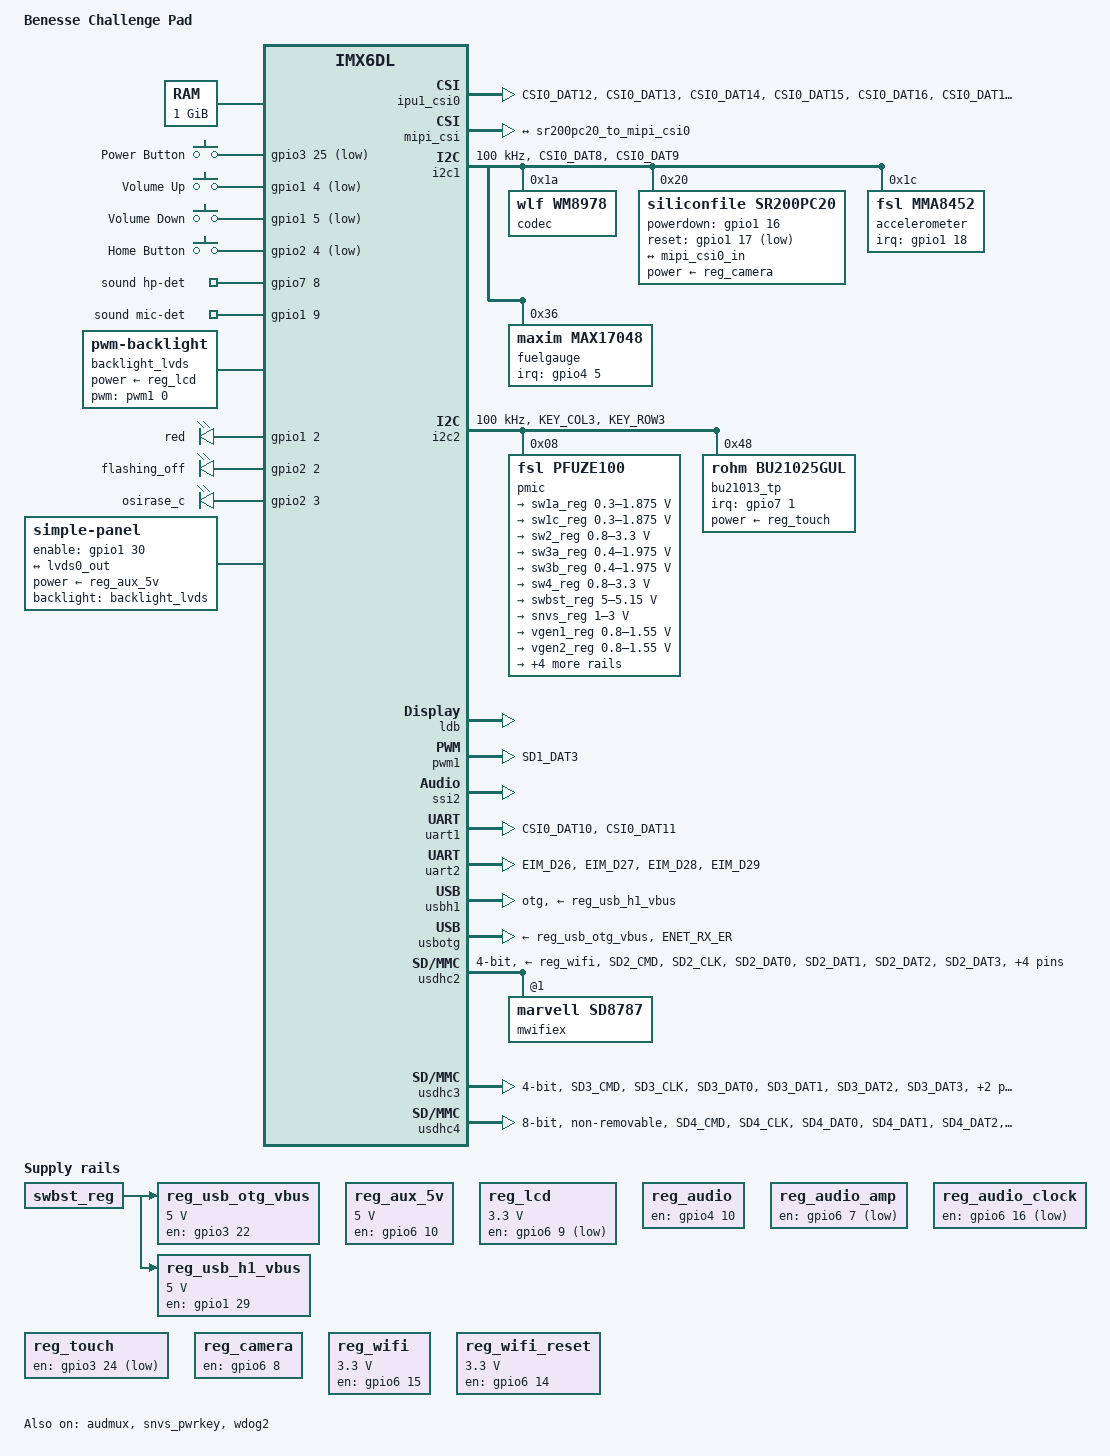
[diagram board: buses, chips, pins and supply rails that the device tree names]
// SPDX-License-Identifier: GPL-2.0+
//
// Copyright 2012 Freescale Semiconductor, Inc.
// Copyright 2011 Linaro Ltd.

/dts-v1/;

#include "imx6dl.dtsi"

#include <dt-bindings/clock/imx6qdl-clock.h>
#include <dt-bindings/gpio/gpio.h>
#include <dt-bindings/input/input.h>
#include <dt-bindings/sound/fsl-imx-audmux.h>

/ {
	model = "Benesse Challenge Pad";
	compatible = "benesse,challenge-pad", "fsl,imx6dl";

	chosen {
		stdout-path = &uart1;
	};

	memory@10000000 {
		device_type = "memory";
		reg = <0x10000000 0x40000000>;
	};

	reg_usb_otg_vbus: regulator-usb-otg-vbus {
		compatible = "regulator-fixed";
		regulator-name = "usb_otg_vbus";
		regulator-min-microvolt = <5000000>;
		regulator-max-microvolt = <5000000>;
		gpio = <&gpio3 22 GPIO_ACTIVE_HIGH>;
		enable-active-high;
		vin-supply = <&swbst_reg>;
	};

	reg_usb_h1_vbus: regulator-usb-h1-vbus {
		compatible = "regulator-fixed";
		regulator-name = "usb_h1_vbus";
		regulator-min-microvolt = <5000000>;
		regulator-max-microvolt = <5000000>;
		gpio = <&gpio1 29 GPIO_ACTIVE_HIGH>;
		enable-active-high;
		vin-supply = <&swbst_reg>;
	};

	reg_aux_5v: regulator-aux-5v {
		compatible = "regulator-fixed";
		regulator-name = "aux_5v";
		regulator-min-microvolt = <5000000>;
		regulator-max-microvolt = <5000000>;
		gpio = <&gpio6 10 GPIO_ACTIVE_HIGH>;
		enable-active-high;
	};

	reg_lcd: regulator-lcd-backlight {
		compatible = "regulator-fixed";
		regulator-name = "lcd";
		regulator-min-microvolt = <3300000>;
		regulator-max-microvolt = <3300000>;
		gpio = <&gpio6 9 GPIO_ACTIVE_LOW>;
		enable-active-low;
	};

	reg_audio: regulator-audio {
		compatible = "regulator-fixed";
		regulator-name = "wm8962-supply";
		gpio = <&gpio4 10 GPIO_ACTIVE_HIGH>;
		enable-active-high;
		regulator-always-on;
	};

	reg_audio_amp: regulator-audio-amp {
		compatible = "regulator-fixed";
		regulator-name = "wm8962-supply-amp";
		gpio = <&gpio6 7 GPIO_ACTIVE_LOW>;
		enable-active-low;
		regulator-always-on;
	};

	reg_audio_clock: regulator-audio-clock {
		compatible = "regulator-fixed";
		regulator-name = "wm8962-supply-clock";
		gpio = <&gpio6 16 GPIO_ACTIVE_LOW>;
		enable-active-low;
		regulator-always-on;
	};

	reg_touch: regulator-touchscreen {
		compatible = "regulator-fixed";
		regulator-name = "bu21025-supply";
		gpio = <&gpio3 24 GPIO_ACTIVE_LOW>;
		enable-active-low;
	};

	reg_camera: regulator-sr200pc20 {
		compatible = "regulator-fixed";
		regulator-name = "sr200pc20-supply";
		gpio = <&gpio6 8 GPIO_ACTIVE_HIGH>;
		enable-active-high;
	};

	reg_wifi: regulator-sd8787 {
		compatible = "regulator-fixed";
		regulator-name = "sd8787-supply";
		regulator-min-microvolt = <3300000>;
		regulator-max-microvolt = <3300000>;
		gpio = <&gpio6 15 GPIO_ACTIVE_HIGH>;
		enable-active-high;
	};

    reg_wifi_reset: regulator-sd8787-reset {
		compatible = "regulator-fixed";
		regulator-name = "sd8787-supply-reset";
		regulator-min-microvolt = <3300000>;
		regulator-max-microvolt = <3300000>;
		gpio = <&gpio6 14 GPIO_ACTIVE_HIGH>;
		enable-active-high;
	};

	gpio-keys {
		compatible = "gpio-keys";
		pinctrl-names = "default";
		pinctrl-0 = <&pinctrl_gpio_keys>;

		power {
			label = "Power Button";
			gpios = <&gpio3 25 GPIO_ACTIVE_LOW>;
			wakeup-source;
			linux,code = <KEY_POWER>;
		};

		volume-up {
			label = "Volume Up";
			gpios = <&gpio1 4 GPIO_ACTIVE_LOW>;
			wakeup-source;
			linux,code = <KEY_VOLUMEUP>;
		};

		volume-down {
			label = "Volume Down";
			gpios = <&gpio1 5 GPIO_ACTIVE_LOW>;
			wakeup-source;
			linux,code = <KEY_VOLUMEDOWN>;
		};

		home {
			label = "Home Button";
			gpios = <&gpio2 4 GPIO_ACTIVE_LOW>;
			wakeup-source;
			linux,code = <KEY_HOME>;
		};
	};

	sound {
		compatible = "simple-audio-card";
		simple-audio-card,name = "Wolfson WM8978";
		simple-audio-card,format = "i2s";
		pinctrl-names = "default";
		pinctrl-0 = <&pinctrl_hp>;
		simple-audio-card,widgets =
            "Microphone", "MIC",
			"Microphone", "Mic Jack",
            "Headphone", "Headphones",
            "Speaker", "Ext Spk";
		simple-audio-card,routing =
			"Headphones", "LHP",
			"Headphones", "RHP",
			"Ext Spk", "LSPK",
			"Ext Spk", "RSPK",
			"RMICN", "MIC",
            "RMICP", "MIC",
            "MIC", "Mic Bias",
			"LMICN", "Mic Jack",
            "LMICP", "Mic Jack",
            "Mic Jack", "Mic Bias";
		simple-audio-card,hp-det-gpio = <&gpio7 8 GPIO_ACTIVE_HIGH>;
		simple-audio-card,mic-det-gpio = <&gpio1 9 GPIO_ACTIVE_HIGH>;
		simple-audio-card,bitclock-master = <&codec_dai>;
		simple-audio-card,frame-master = <&codec_dai>;
		cpu_dai: simple-audio-card,cpu {
            sound-dai = <&ssi2>;
        };
        codec_dai: simple-audio-card,codec {
            sound-dai = <&codec>;
			clocks = <&clks IMX6QDL_CLK_CKO>;
			system-clock-frequency=<24000000>;
        };
	};

	backlight_lvds: backlight-lvds {
		compatible = "pwm-backlight";
		pwms = <&pwm1 0 50000>;
		power-supply = <&reg_lcd>;
		brightness-levels = <0 4 8 16 32 64 128 255>;
		default-brightness-level = <7>;
		status = "okay";
	};

	leds {
		compatible = "gpio-leds";
		pinctrl-names = "default";
		pinctrl-0 = <&pinctrl_gpio_leds>;

		red {
			gpios = <&gpio1 2 GPIO_ACTIVE_HIGH>;
			default-state = "off";
		};

		flashing_off {
			gpios = <&gpio2 2 GPIO_ACTIVE_HIGH>;
			default-state = "off";
		};

		osirase_c {
			gpios = <&gpio2 3 GPIO_ACTIVE_HIGH>;
			default-state = "off";
		};
	};

	panel {
		compatible = "simple-panel";
		pinctrl-names = "default";
		pinctrl-0 = <&pinctrl_gpio_panel>;

		power-supply = <&reg_aux_5v>;
		enable-gpios = <&gpio1 30 GPIO_ACTIVE_HIGH>;
		backlight = <&backlight_lvds>;
	
		port {
			panel_in: endpoint {
				remote-endpoint = <&lvds0_out>;
			};
		};
	};
};

&ipu1_csi0_from_ipu1_csi0_mux {
	bus-width = <8>;
	data-shift = <12>; /* Lines 19:12 used */
	hsync-active = <1>;
	vsync-active = <1>;
};

&ipu1_csi0 {
	pinctrl-names = "default";
	pinctrl-0 = <&pinctrl_ipu1_csi0>;
};

&mipi_csi {
	status = "okay";

	port@0 {
		reg = <0>;

		mipi_csi0_in: endpoint {
			remote-endpoint = <&sr200pc20_to_mipi_csi0>;
			clock-lanes = <0>;
			data-lanes = <1 2>;
		};
	};
};

&audmux {
	pinctrl-names = "default";
	pinctrl-0 = <&pinctrl_audmux>;
	status = "okay";

	port2 {
        fsl,audmux-port = <1>;
        fsl,port-config = <
				IMX_AUDMUX_V2_PTCR_SYN			0
                IMX_AUDMUX_V2_PTCR_TFSEL(2)		0
                IMX_AUDMUX_V2_PTCR_TCSEL(2)		0
                IMX_AUDMUX_V2_PTCR_TFSDIR		0
                IMX_AUDMUX_V2_PTCR_TCLKDIR      IMX_AUDMUX_V2_PDCR_RXDSEL(2)>;
    };
    port3 {
        fsl,audmux-port = <2>;
        fsl,port-config = <
				IMX_AUDMUX_V2_PTCR_SYN          IMX_AUDMUX_V2_PDCR_RXDSEL(1)>;
    };
};

&clks {
	assigned-clocks = <&clks IMX6QDL_CLK_LDB_DI0_SEL>,
			  <&clks IMX6QDL_CLK_LDB_DI1_SEL>;
	assigned-clock-parents = <&clks IMX6QDL_CLK_PLL3_USB_OTG>,
				 <&clks IMX6QDL_CLK_PLL3_USB_OTG>;
};

&i2c1 {
	clock-frequency = <100000>;
	pinctrl-names = "default";
	pinctrl-0 = <&pinctrl_i2c1>;
	status = "okay";

	codec: wm8978@1a {
		compatible = "wlf,wm8978";
		reg = <0x1a>;
		#sound-dai-cells = <0>;
	};

	sr200pc20: camera@20 {
		compatible = "siliconfile,sr200pc20";
		pinctrl-names = "default";
		pinctrl-0 = <&pinctrl_sr200pc20>;
		reg = <0x20>;
		clocks = <&clks IMX6QDL_CLK_OSC>;
		clock-names = "osc_clk";
		power-supply = <&reg_camera>;
		powerdown-gpios = <&gpio1 16 GPIO_ACTIVE_HIGH>;
		reset-gpios = <&gpio1 17 GPIO_ACTIVE_LOW>;

		port {
			sr200pc20_to_mipi_csi0: endpoint {
				remote-endpoint = <&mipi_csi0_in>;
				clock-lanes = <0>;
				data-lanes = <1 2>;
			};
		};
	};

	accelerometer@1c {
		compatible = "fsl,mma8452";
		reg = <0x1c>;
		pinctrl-names = "default";
		pinctrl-0 = <&pinctrl_i2c1_mma8451_int>;
		interrupt-parent = <&gpio1>;
		interrupts = <18 IRQ_TYPE_LEVEL_LOW>;
	};

	fuelgauge: max17048@36 {
		compatible = "maxim,max17048";
		reg = <0x36>;

		maxim,double-soc;
		maxim,rcomp = /bits/ 8 <0x4d>;

		interrupt-parent = <&gpio4>;
		interrupts = <5 IRQ_TYPE_LEVEL_LOW>;

		pinctrl-names = "default";
		pinctrl-0 = <&pinctrl_i2c1_max17048_int>;

		maxim,alert-low-soc-level = <2>;
	};
};

&i2c2 {
	clock-frequency = <100000>;
	pinctrl-names = "default";
	pinctrl-0 = <&pinctrl_i2c2>;
	status = "okay";

	pmic: pfuze100@8 {
		compatible = "fsl,pfuze100";
		reg = <0x08>;

		regulators {
			sw1a_reg: sw1ab {
				regulator-min-microvolt = <300000>;
				regulator-max-microvolt = <1875000>;
				regulator-boot-on;
				regulator-always-on;
				regulator-ramp-delay = <6250>;
			};

			sw1c_reg: sw1c {
				regulator-min-microvolt = <300000>;
				regulator-max-microvolt = <1875000>;
				regulator-boot-on;
				regulator-always-on;
				regulator-ramp-delay = <6250>;
			};

			sw2_reg: sw2 {
				regulator-min-microvolt = <800000>;
				regulator-max-microvolt = <3300000>;
				regulator-boot-on;
				regulator-always-on;
				regulator-ramp-delay = <6250>;
			};

			sw3a_reg: sw3a {
				regulator-min-microvolt = <400000>;
				regulator-max-microvolt = <1975000>;
				regulator-boot-on;
				regulator-always-on;
			};

			sw3b_reg: sw3b {
				regulator-min-microvolt = <400000>;
				regulator-max-microvolt = <1975000>;
				regulator-boot-on;
				regulator-always-on;
			};

			sw4_reg: sw4 {
				regulator-min-microvolt = <800000>;
				regulator-max-microvolt = <3300000>;
				regulator-always-on;
			};

			swbst_reg: swbst {
				regulator-min-microvolt = <5000000>;
				regulator-max-microvolt = <5150000>;
			};

			snvs_reg: vsnvs {
				regulator-min-microvolt = <1000000>;
				regulator-max-microvolt = <3000000>;
				regulator-boot-on;
				regulator-always-on;
			};

			vref_reg: vrefddr {
				regulator-boot-on;
				regulator-always-on;
			};

			vgen1_reg: vgen1 {
				regulator-min-microvolt = <800000>;
				regulator-max-microvolt = <1550000>;
			};

			vgen2_reg: vgen2 {
				regulator-min-microvolt = <800000>;
				regulator-max-microvolt = <1550000>;
			};

			vgen3_reg: vgen3 {
				regulator-min-microvolt = <1800000>;
				regulator-max-microvolt = <3300000>;
			};

			vgen4_reg: vgen4 {
				regulator-min-microvolt = <1800000>;
				regulator-max-microvolt = <3300000>;
				regulator-always-on;
			};

			vgen5_reg: vgen5 {
				regulator-min-microvolt = <1800000>;
				regulator-max-microvolt = <3300000>;
				regulator-always-on;
			};

			vgen6_reg: vgen6 {
				regulator-min-microvolt = <1800000>;
				regulator-max-microvolt = <3300000>;
				regulator-always-on;
			};
		};
	};

	bu21013_tp@48 {
		compatible = "rohm,bu21025gul";
		reg = <0x48>;
		pinctrl-names = "default";
		pinctrl-0 = <&pinctrl_i2c2_bu21025_int>;
		interrupt-parent = <&gpio7>;
		interrupts = <1 IRQ_TYPE_EDGE_FALLING>;
		irq-gpio = <&gpio7 1 0>;
		power-supply = <&reg_touch>;
	};
};

&iomuxc {
	pinctrl-names = "default";

	imx6dl-challenge-pad {

		pinctrl_gpio_panel: gpio_panelgrp {
			fsl,pins = <
				MX6QDL_PAD_ENET_TXD0__GPIO1_IO30	0x1b0b0 /* LCD_POWER_EN */
				MX6QDL_PAD_NANDF_WP_B__GPIO6_IO09	0x1b0b0 /* LCD_BACKLIGHT_POWER_EN */
				MX6QDL_PAD_NANDF_RB0__GPIO6_IO10	0x1b0b0 /* AUX_5V_ENABLE */
			>;
		};

		pinctrl_sr200pc20: gpio_sr200pc20 {
			fsl,pins = <
				MX6QDL_PAD_SD1_DAT0__GPIO1_IO16		0x1b0b0
				MX6QDL_PAD_SD1_DAT1__GPIO1_IO17		0x1b0b0
				MX6QDL_PAD_NANDF_ALE__GPIO6_IO08	0x1b0b0
			>;
		};

		pinctrl_audmux: audmuxgrp {
			fsl,pins = <
				MX6QDL_PAD_KEY_COL2__GPIO4_IO10		0x1b0b0
				MX6QDL_PAD_NANDF_CS3__GPIO6_IO16	0x1b0b0
				MX6QDL_PAD_NANDF_CLE__GPIO6_IO07	0x1b0b0
				MX6QDL_PAD_GPIO_0__CCM_CLKO1		0x1b0b0

				MX6QDL_PAD_CSI0_DAT7__AUD3_RXD		0x130b0
				MX6QDL_PAD_CSI0_DAT4__AUD3_TXC		0x130b0
				MX6QDL_PAD_CSI0_DAT5__AUD3_TXD		0x110b0
				MX6QDL_PAD_CSI0_DAT6__AUD3_TXFS		0x130b0
			>;
		};

		pinctrl_gpio_keys: gpio_keysgrp {
			fsl,pins = <
				MX6QDL_PAD_EIM_D25__GPIO3_IO25  	0x1b0b0 /* Power */
				MX6QDL_PAD_GPIO_4__GPIO1_IO04   	0x1b0b0 /* Vol Up */
				MX6QDL_PAD_GPIO_5__GPIO1_IO05		0x1b0b0 /* Vol Down */
				MX6QDL_PAD_NANDF_D4__GPIO2_IO04		0x1b0b0 /* Home */
			>;
		};

		pinctrl_hp: hpgrp {
			fsl,pins = <
				MX6QDL_PAD_SD3_RST__GPIO7_IO08          0x1b0b0
				MX6QDL_PAD_GPIO_9__GPIO1_IO09           0x1b0b0
			>;
		};

		pinctrl_i2c1: i2c1grp {
			fsl,pins = <
				MX6QDL_PAD_CSI0_DAT8__I2C1_SDA		0x4001b8b1
				MX6QDL_PAD_CSI0_DAT9__I2C1_SCL		0x4001b8b1
			>;
		};

		pinctrl_i2c1_mma8451_int: i2c1mma8451intgrp {
			fsl,pins = <
				MX6QDL_PAD_SD1_CMD__GPIO1_IO18		0xb0b1
			>;
		};

		pinctrl_i2c1_max17048_int: i2c1max17048intgrp {
			fsl,pins = <
				MX6QDL_PAD_GPIO_19__GPIO4_IO05		0xb0b1
			>;
		};

		pinctrl_i2c2: i2c2grp {
			fsl,pins = <
				MX6QDL_PAD_KEY_COL3__I2C2_SCL		0x4001b8b1
				MX6QDL_PAD_KEY_ROW3__I2C2_SDA		0x4001b8b1
			>;
		};

		pinctrl_i2c2_bu21025_int: i2c2bu21025intgrp {
			fsl,pins = <
				MX6QDL_PAD_EIM_D24__GPIO3_IO24	0x1b0b0
				MX6QDL_PAD_SD3_DAT4__GPIO7_IO01 0xb0b1
			>;
		};

		pinctrl_ipu1_csi0: ipu1csi0grp {
			fsl,pins = <
				MX6QDL_PAD_CSI0_DAT12__IPU1_CSI0_DATA12    0x1b0b0
				MX6QDL_PAD_CSI0_DAT13__IPU1_CSI0_DATA13    0x1b0b0
				MX6QDL_PAD_CSI0_DAT14__IPU1_CSI0_DATA14    0x1b0b0
				MX6QDL_PAD_CSI0_DAT15__IPU1_CSI0_DATA15    0x1b0b0
				MX6QDL_PAD_CSI0_DAT16__IPU1_CSI0_DATA16    0x1b0b0
				MX6QDL_PAD_CSI0_DAT17__IPU1_CSI0_DATA17    0x1b0b0
				MX6QDL_PAD_CSI0_DAT18__IPU1_CSI0_DATA18    0x1b0b0
				MX6QDL_PAD_CSI0_DAT19__IPU1_CSI0_DATA19    0x1b0b0
				MX6QDL_PAD_CSI0_PIXCLK__IPU1_CSI0_PIXCLK   0x1b0b0
				MX6QDL_PAD_CSI0_MCLK__IPU1_CSI0_HSYNC      0x1b0b0
				MX6QDL_PAD_CSI0_VSYNC__IPU1_CSI0_VSYNC     0x1b0b0
			>;
		};

		pinctrl_pwm1: pwm1grp {
			fsl,pins = <
				MX6QDL_PAD_SD1_DAT3__PWM1_OUT		0x17059
			>;
		};

		pinctrl_uart1: uart1grp {
			fsl,pins = <
				MX6QDL_PAD_CSI0_DAT10__UART1_TX_DATA	0x1b0b1
				MX6QDL_PAD_CSI0_DAT11__UART1_RX_DATA	0x1b0b1
			>;
		};

		pinctrl_uart2: uart2grp {
			fsl,pins = <
				MX6QDL_PAD_EIM_D26__UART2_TX_DATA	0x1b0b1
				MX6QDL_PAD_EIM_D27__UART2_RX_DATA	0x1b0b1
				MX6QDL_PAD_EIM_D28__UART2_CTS_B		0x1b0b1
				MX6QDL_PAD_EIM_D29__UART2_RTS_B		0x1b0b1
			>;
		};

		pinctrl_bluetooth: bluetoothgrp {
			fsl,pins = <
				MX6QDL_PAD_KEY_COL1__AUD5_TXFS	0x100b1
				MX6QDL_PAD_KEY_ROW0__AUD5_TXD	0x100b1
				MX6QDL_PAD_KEY_COL0__AUD5_TXC	0x100b1
				MX6QDL_PAD_KEY_ROW1__AUD5_RXD	0x1b0b0
			>;
		};

		pinctrl_usbotg: usbotggrp {
			fsl,pins = <
				MX6QDL_PAD_ENET_RX_ER__USB_OTG_ID	0x17059
			>;
		};

		pinctrl_usdhc2: usdhc2grp {
			fsl,pins = <
				MX6QDL_PAD_SD2_CMD__SD2_CMD		0x17059
				MX6QDL_PAD_SD2_CLK__SD2_CLK		0x10059
				MX6QDL_PAD_SD2_DAT0__SD2_DATA0		0x17059
				MX6QDL_PAD_SD2_DAT1__SD2_DATA1		0x17059
				MX6QDL_PAD_SD2_DAT2__SD2_DATA2		0x17059
				MX6QDL_PAD_SD2_DAT3__SD2_DATA3		0x17059

				MX6QDL_PAD_GPIO_8__XTALOSC_REF_CLK_32K	0x1b0b0
				MX6QDL_PAD_NANDF_CS0__GPIO6_IO11	0x1b0b0
				MX6QDL_PAD_NANDF_CS1__GPIO6_IO14	0x1b0b0
				MX6QDL_PAD_NANDF_CS2__GPIO6_IO15	0x1b0b0
			>;
		};

		pinctrl_usdhc3: usdhc3grp {
			fsl,pins = <
				MX6QDL_PAD_SD3_CMD__SD3_CMD		0x17059
				MX6QDL_PAD_SD3_CLK__SD3_CLK		0x10059
				MX6QDL_PAD_SD3_DAT0__SD3_DATA0		0x17059
				MX6QDL_PAD_SD3_DAT1__SD3_DATA1		0x17059
				MX6QDL_PAD_SD3_DAT2__SD3_DATA2		0x17059
				MX6QDL_PAD_SD3_DAT3__SD3_DATA3		0x17059
			>;
		};

		pinctrl_usdhc4: usdhc4grp {
			fsl,pins = <
				MX6QDL_PAD_SD4_CMD__SD4_CMD		0x17059
				MX6QDL_PAD_SD4_CLK__SD4_CLK		0x10059
				MX6QDL_PAD_SD4_DAT0__SD4_DATA0		0x17059
				MX6QDL_PAD_SD4_DAT1__SD4_DATA1		0x17059
				MX6QDL_PAD_SD4_DAT2__SD4_DATA2		0x17059
				MX6QDL_PAD_SD4_DAT3__SD4_DATA3		0x17059
				MX6QDL_PAD_SD4_DAT4__SD4_DATA4		0x17059
				MX6QDL_PAD_SD4_DAT5__SD4_DATA5		0x17059
				MX6QDL_PAD_SD4_DAT6__SD4_DATA6		0x17059
				MX6QDL_PAD_SD4_DAT7__SD4_DATA7		0x17059
			>;
		};

		pinctrl_wdog: wdoggrp {
			fsl,pins = <
				MX6QDL_PAD_GPIO_1__WDOG2_B		0x1b0b0
			>;
		};
	};

	gpio_leds {
		pinctrl_gpio_leds: gpioledsgrp {
			fsl,pins = <
				MX6QDL_PAD_GPIO_2__GPIO1_IO02   0x1b0b0 /* USR_DEF_RED_LED */
				MX6QDL_PAD_NANDF_D2__GPIO2_IO02 0x1b0b0 /* Flashing_off */
				MX6QDL_PAD_NANDF_D3__GPIO2_IO03 0x1b0b0 /* osirase_c */
			>;
		};
	};
};

&ldb {
	status = "okay";

	lvds-channel@1 {
		fsl,data-mapping = "spwg";
		fsl,data-width = <24>;
		status = "okay";

		port@0 {
			reg = <0>;

			lvds0_out: endpoint {
				remote-endpoint = <&panel_in>;
			};
		};
		display-timings {
	        timing0 {
        	    clock-frequency = <15385000>;
            	hactive = <1024>;
	            vactive = <768>;
    	        hsync-len = <70>;
        	    hfront-porch = <160>;
            	hback-porch = <160>;
	            vfront-porch = <15>;
    	        vback-porch = <23>;
        	    vsync-len = <10>;
	        };
    	};
	};
};

&pwm1 {
	#pwm-cells = <2>;
	pinctrl-names = "default";
	pinctrl-0 = <&pinctrl_pwm1>;
	status = "okay";
};

&reg_arm {
       vin-supply = <&sw1a_reg>;
};

&reg_pu {
       vin-supply = <&sw1c_reg>;
};

&reg_soc {
       vin-supply = <&sw1c_reg>;
};

&reg_vdd1p1 {
	vin-supply = <&vgen5_reg>;
};

&reg_vdd2p5 {
	vin-supply = <&vgen5_reg>;
};

&snvs_poweroff {
	status = "okay";
};

&snvs_pwrkey {
	status = "okay";
};

&ssi2 {
	fsl,mode = "i2s-master";
	status = "okay";
};

&uart1 {
	pinctrl-names = "default";
	pinctrl-0 = <&pinctrl_uart1>;
	status = "okay";
};

&uart2 {
	pinctrl-names = "default";
	pinctrl-0 = <&pinctrl_uart2>;
	status = "okay";
};

&usbh1 {
	vbus-supply = <&reg_usb_h1_vbus>;
	dr_mode = "otg";
	status = "okay";
};

&usbotg {
	vbus-supply = <&reg_usb_otg_vbus>;
	pinctrl-names = "default";
	pinctrl-0 = <&pinctrl_usbotg>;
	disable-over-current;
	status = "okay";
};

&usdhc2 {
	pinctrl-names = "default";
	pinctrl-0 = <&pinctrl_usdhc2>;
	bus-width = <4>;
	cap-power-off-card;
	keep-power-in-suspend;
	vmmc-supply = <&reg_wifi>;
	vqmmc-supply = <&reg_wifi_reset>;
	status = "okay";

	#address-cells = <1>;
	#size-cells = <0>;

	mwifiex: wifi@1 {
		compatible = "marvell,sd8787", "marvell,sd8897";
		reg = <0x1>;
		status = "okay";
	};

/*	btmrvl: bluetooth@2 {
		compatible = "marvell,sd8897-bt";
		reg = <0x2>;
		status = "okay";
	};*/
};

&usdhc3 {
	pinctrl-names = "default";
	pinctrl-0 = <&pinctrl_usdhc3>;
	bus-width = <4>;
	cd-gpios = <&gpio2 0 GPIO_ACTIVE_LOW>;
	wp-gpios = <&gpio2 1 GPIO_ACTIVE_HIGH>;
	status = "okay";
};

&usdhc4 {
	pinctrl-names = "default";
	pinctrl-0 = <&pinctrl_usdhc4>;
	bus-width = <8>;
	non-removable;
	no-1-8-v;
	status = "okay";
};

&wdog1 {
	status = "disabled";
};

&wdog2 {
	pinctrl-names = "default";
	pinctrl-0 = <&pinctrl_wdog>;
	fsl,ext-reset-output;
	status = "okay";
};
